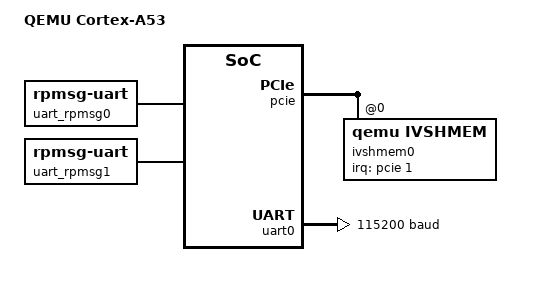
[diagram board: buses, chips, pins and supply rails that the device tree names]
/*
 * Copyright (c) 2019 Carlo Caione <ccaione@baylibre.com>
 *
 * SPDX-License-Identifier: Apache-2.0
 *
 */

/dts-v1/;
#include <arm64/qemu/qemu-virt-a53.dtsi>
#include <zephyr/dt-bindings/pcie/pcie.h>

/ {
	model = "QEMU Cortex-A53";
	compatible = "qemu,arm-cortex-a53";

	psci {
		compatible = "arm,psci-0.2";
		method = "hvc";
		label = "PSCI";
	};

	chosen {
		zephyr,sram = &sram1;
		/* uart0 is used for debug, which also may be used by Linux */
		zephyr,console = &uart0;
		zephyr,shell-uart = &uart_rpmsg0;
		zephyr,flash = &flash0;
		zephyr,pcie-controller = &pcie;
	};

	uart_rpmsg0: ep0 {
		status = "okay";
		compatible = "zephyr,rpmsg-uart";
		/* the rpmsg-tty driver requires ep-name should be rpmsg-tty* */
		ep-name = "rpmsg-tty";
	};

	uart_rpmsg1: ep1 {
		status = "okay";
		compatible = "zephyr,rpmsg-uart";
		ep-name = "rpmsg-tty1";
	};

	soc {

		sram1: memory@7a000000 {
			compatible = "mmio-sram";
			reg = <0x0 0x7a000000 0x0 DT_SIZE_M(10)>;
		};

		pcie: pcie@8e00000 {
			compatible = "pci-host-ecam-generic";
			device_type = "pci";
			reg = <0x00 0x08e00000 0x00 0x100000>;
			#size-cells = <0x02>;
			#address-cells = <0x03>;
			ranges = <0x02000000 0x00 0x10000000 0x0 0x10000000 0x00 0x10000>;
			#interrupt-cells = <0x01>;
			interrupt-map-mask = <0x00 0x00 0x00 0x07>;
			interrupt-map = <
				0x00 0x00 0x00 1 &gic 0 0 GIC_SPI 108 IRQ_TYPE_EDGE IRQ_DEFAULT_PRIORITY
				0x00 0x00 0x00 2 &gic 0 0 GIC_SPI 109 IRQ_TYPE_EDGE IRQ_DEFAULT_PRIORITY
				0x00 0x00 0x00 3 &gic 0 0 GIC_SPI 110 IRQ_TYPE_EDGE IRQ_DEFAULT_PRIORITY
				0x00 0x00 0x00 4 &gic 0 0 GIC_SPI 111 IRQ_TYPE_EDGE IRQ_DEFAULT_PRIORITY>;
			bus-range = <0x00 0x00>;
		};

	};
};

&uart0 {
	status = "okay";
	current-speed = <115200>;
};

&pcie {
	ivshmem0: ivshmem@0 {
		compatible = "qemu,ivshmem";
		ivshmem-v2;
		vendor-id = <0x110A>;           /* Siemens */
		device-id = <0x4106>;           /* IVSHMEM */
		class-rev = <0xFF400100>;       /* PCI_CLASS_OTHERS | IVSHMEM_PROTO_RPMSG */
		class-rev-mask = <0xFFFFFF00>;  /* PCI_CLASS_MASK | IVSHMEM_PROTO_MASK */
		interrupt-parent = <&pcie>;
		interrupts = <1 2 3 4>;
		reg = <0x00 0x00 0x00 0x00 0x01>;
		status = "okay";
	};
};
